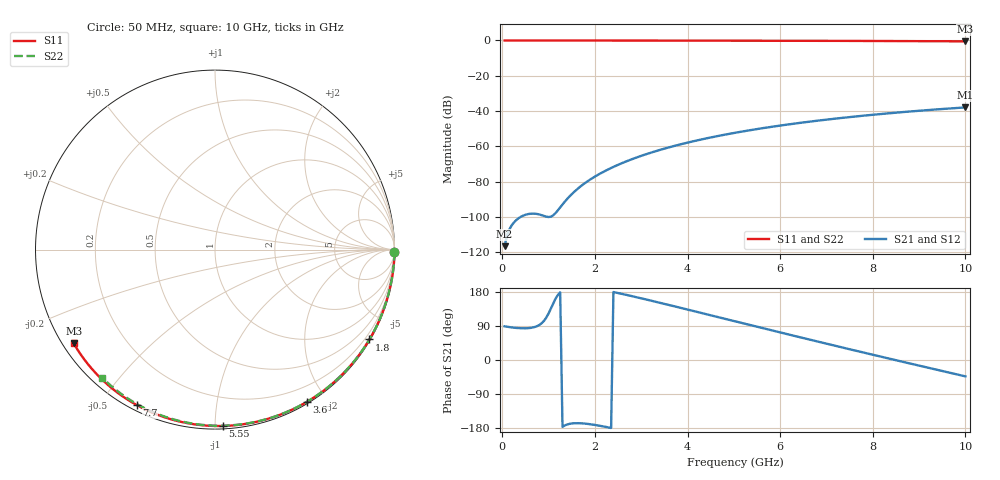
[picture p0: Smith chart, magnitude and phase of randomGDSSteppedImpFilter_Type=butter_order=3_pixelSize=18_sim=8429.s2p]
! freq	dB(S11)	phase(S11)	dB(S12)	phase(S12)
!  dB(S21)	phase(S21)	dB(S22)	phase(S22)
!S-par simulation data
#  GHz  S  DB  R 50
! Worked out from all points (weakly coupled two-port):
!   200 points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, 50 MHz to 10 GHz, reference 50 ohm
!   highest |S21| = -37.94 dB at 10 GHz (marker M1); lowest = -116.6 dB at 50 MHz (marker M2)
!   lowest |S11| = -0.5 dB at 10 GHz (marker M3), VSWR 35.23, Z = 1.55 - j15.1 ohm
!   |S11| at or under -10 dB: nowhere
!   |S22| runs from -0.4 to 0.0 dB; largest |S21 - S12| = 0
!   S11 on the Smith chart (normalised r, x): 50 MHz: open; 1.8 GHz: 0.03, -3.71; 3.6 GHz: 0.02, -1.77; 5.55 GHz: 0.02, -1.04; 7.7 GHz: 0.02, -0.62; 10 GHz: 0.03, -0.30
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0.05  -0.00 -0.9  -116.57 88.9  -116.57 88.9  -0.00 -0.8
0.45  -0.01 -7.7  -99.28 83.7  -99.28 83.7  -0.01 -6.8
0.9  -0.02 -15.2  -99.44 103.3  -99.44 103.3  -0.02 -13.6
1.3  -0.03 -21.9  -92.91 -176.2  -92.91 -176.2  -0.02 -19.5
1.75  -0.04 -29.3  -81.50 -167.4  -81.50 -167.4  -0.03 -26.2
1.8  -0.04 -30.2  -80.54 -168.0  -80.54 -168.0  -0.03 -26.9
1.85  -0.04 -31.0  -79.64 -168.7  -79.64 -168.7  -0.04 -27.7
2.05  -0.04 -34.3  -76.36 -172.4  -76.36 -172.4  -0.04 -30.6
2.2  -0.05 -36.7  -74.21 -175.7  -74.21 -175.7  -0.04 -32.8
2.55  -0.05 -42.3  -69.90 175.4  -69.90 175.4  -0.05 -37.8
2.95  -0.06 -48.7  -65.85 164.2  -65.85 164.2  -0.06 -43.5
3.4  -0.07 -55.7  -62.05 151.1  -62.05 151.1  -0.07 -49.9
3.6  -0.08 -58.8  -60.57 145.2  -60.57 145.2  -0.07 -52.6
4.3  -0.10 -69.4  -56.09 124.1  -56.09 124.1  -0.09 -62.2
5.05  -0.12 -80.4  -52.20 101.4  -52.20 101.4  -0.11 -72.2
5.55  -0.14 -87.6  -50.00 86.3  -50.00 86.3  -0.13 -78.6
6.1  -0.17 -95.2  -47.86 69.8  -47.86 69.8  -0.15 -85.6
6.7  -0.20 -103.4  -45.80 51.9  -45.80 51.9  -0.18 -93.0
7.7  -0.27 -116.7  -42.88 22.6  -42.88 22.6  -0.24 -105.0
8.35  -0.32 -125.2  -41.27 3.8  -41.27 3.8  -0.29 -112.6
9.2  -0.40 -136.1  -39.42 -20.5  -39.42 -20.5  -0.36 -122.3
10  -0.49 -146.4  -37.94 -43.2  -37.94 -43.2  -0.44 -131.4
